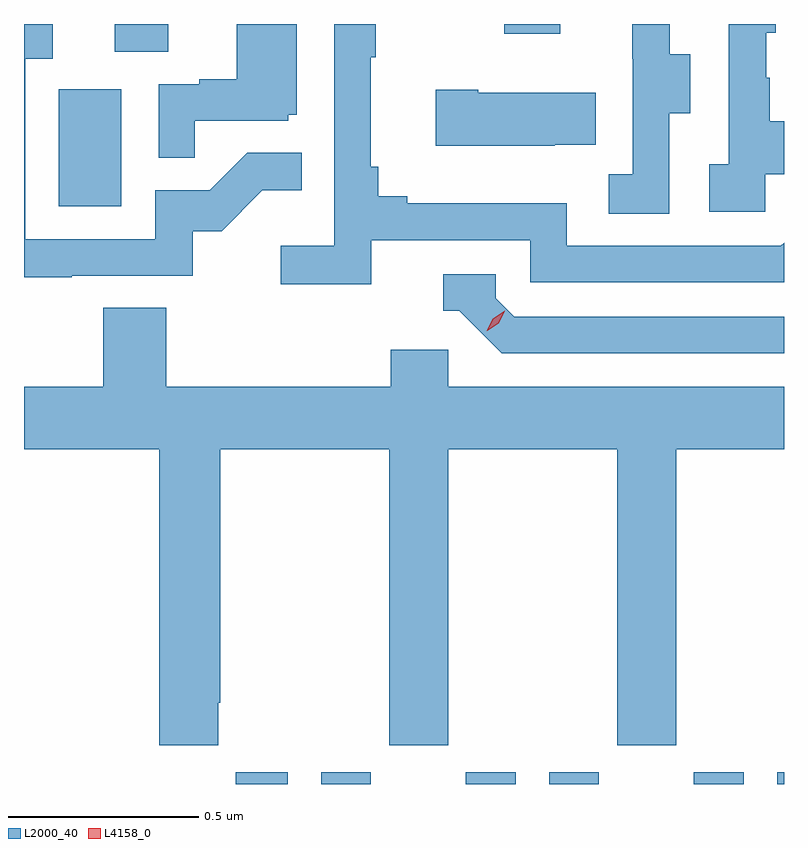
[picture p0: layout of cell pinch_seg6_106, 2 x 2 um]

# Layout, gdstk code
import gdstk
lib = gdstk.Library(unit=1e-6, precision=1e-09)
def R(c, l, rs):  # rectangles x0, y0, x1, y1
    for r in rs: c.add(gdstk.rectangle(r[:2], r[2:], *l))
def P(c, l, *ps):  # polygons
    for p in ps: c.add(gdstk.Polygon(p, *l))
L2000_40 = (2000, 40)
L4158_0 = (4158, 0)

pinch_seg6_106 = lib.new_cell('pinch_seg6_106')
R(pinch_seg6_106, L2000_40, [(913.259,921.147,913.396,921.178), (913.484,921.147,913.615,921.178), (913.865,921.147,913.996,921.178), (914.084,921.147,914.215,921.178), (914.465,921.147,914.596,921.178), (914.684,921.147,914.702,921.178), (912.794,922.668,912.958,922.975), (912.941,923.074,913.081,923.147), (913.966,923.121,914.113,923.147)])
P(pinch_seg6_106, L2000_40, [(914.652,922.751),(914.702,922.751),(914.702,922.891),(914.665,922.891),(914.665,923.006),(914.655,923.006),(914.655,923.124),(914.68,923.124),(914.68,923.147),(914.556,923.147),(914.556,922.778),(914.505,922.778),(914.505,922.653),(914.652,922.653)],
  [(913.616,922.578),(914.034,922.578),(914.034,922.467),(914.702,922.467),(914.702,922.571),(914.694,922.563),(914.13,922.563),(914.13,922.675),(913.711,922.675),(913.711,922.694),(913.634,922.694),(913.634,922.771),(913.615,922.771),(913.615,923.059),(913.627,923.059),(913.627,923.147),(913.518,923.147),(913.518,922.564),(913.377,922.564),(913.377,922.462),(913.616,922.462)],
  [(912.827,922.485),(913.146,922.485),(913.146,922.602),(913.222,922.602),(913.329,922.709),(913.433,922.709),(913.433,922.808),(913.289,922.808),(913.191,922.71),(913.047,922.71),(913.047,922.581),(912.705,922.581),(912.705,923.055),(912.778,923.055),(912.778,923.147),(912.702,923.147),(912.702,922.48),(912.827,922.48)],
  [(913.151,922.893),(913.398,922.893),(913.398,922.908),(913.42,922.908),(913.42,923.147),(913.262,923.147),(913.262,923.002),(913.163,923.002),(913.163,922.989),(913.056,922.989),(913.056,922.795),(913.151,922.795)],
  [(914.4,922.912),(914.455,922.912),(914.455,923.067),(914.401,923.067),(914.401,923.147),(914.303,923.147),(914.303,923.055),(914.304,923.055),(914.304,922.751),(914.241,922.751),(914.241,922.648),(914.4,922.648)],
  [(914.099,922.829),(914.207,922.829),(914.207,922.966),(913.897,922.966),(913.897,922.974),(913.785,922.974),(913.785,922.826),(914.099,922.826)],
  [(914.702,922.377),(913.992,922.377),(913.944,922.425),(913.944,922.488),(913.805,922.488),(913.805,922.392),(913.848,922.392),(913.959,922.281),(914.702,922.281)],
  [(913.213,921.361),(913.218,921.361),(913.218,922.028),(913.663,922.028),(913.663,921.249),(913.818,921.249),(913.818,922.028),(914.263,922.028),(914.263,921.249),(914.418,921.249),(914.418,922.028),(914.702,922.028),(914.702,922.192),(913.818,922.192),(913.818,922.29),(913.667,922.29),(913.667,922.192),(913.076,922.192),(913.076,922.4),(912.911,922.4),(912.911,922.192),(912.702,922.192),(912.702,922.028),(913.058,922.028),(913.058,921.249),(913.213,921.249)])
P(pinch_seg6_106, L4158_0, [(913.92,922.34),(913.92,922.34),(913.936,922.372),(913.967,922.392),(913.967,922.392),(913.967,922.391),(913.951,922.359),(913.921,922.34)])

lib.write_gds('pinch_seg6_106.gds')
